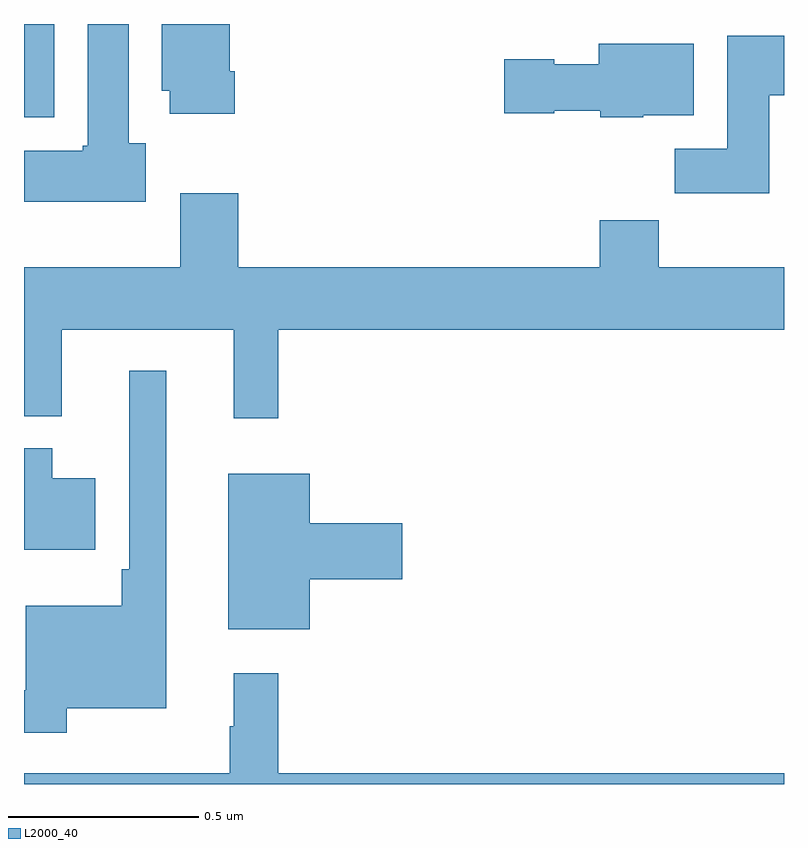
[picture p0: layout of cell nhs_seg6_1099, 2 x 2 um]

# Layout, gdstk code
import gdstk
lib = gdstk.Library(unit=1e-6, precision=1e-09)
def R(c, l, rs):  # rectangles x0, y0, x1, y1
    for r in rs: c.add(gdstk.rectangle(r[:2], r[2:], *l))
def P(c, l, *ps):  # polygons
    for p in ps: c.add(gdstk.Polygon(p, *l))
L2000_40 = (2000, 40)

nhs_seg6_1099 = lib.new_cell('nhs_seg6_1099')
R(nhs_seg6_1099, L2000_40, [(125,921.254,125.079,921.5)])
P(nhs_seg6_1099, L2000_40, [(125.555,921.376),(125.542,921.376),(125.542,921.5),(125.363,921.5),(125.363,921.324),(125.384,921.324),(125.384,921.264),(125.555,921.264)],
  [(125.32,921.186),(125.275,921.186),(125.275,921.5),(125.168,921.5),(125.168,921.18),(125.155,921.18),(125.155,921.166),(125,921.166),(125,921.032),(125.32,921.032)],
  [(126.961,921.313),(127,921.313),(127,921.469),(126.851,921.469),(126.851,921.172),(126.712,921.172),(126.712,921.054),(126.961,921.054)],
  [(126.63,921.26),(126.763,921.26),(126.763,921.448),(126.512,921.448),(126.512,921.394),(126.396,921.394),(126.396,921.407),(126.264,921.407),(126.264,921.265),(126.396,921.265),(126.396,921.272),(126.516,921.272),(126.516,921.254),(126.63,921.254)],
  [(125.669,920.696),(127,920.696),(127,920.86),(126.671,920.86),(126.671,920.984),(126.515,920.984),(126.515,920.86),(125.564,920.86),(125.564,921.055),(125.411,921.055),(125.411,920.86),(125,920.86),(125,920.696),(125.001,920.696),(125.001,920.468),(125.099,920.468),(125.099,920.696),(125.552,920.696),(125.552,920.463),(125.669,920.463)],
  [(125.113,919.7),(125.374,919.7),(125.374,920.587),(125.277,920.587),(125.277,920.065),(125.257,920.065),(125.257,919.969),(125.004,919.969),(125.004,919.747),(125,919.747),(125,919.635),(125.113,919.635)],
  [(125.188,920.305),(125.074,920.305),(125.074,920.383),(125,920.383),(125,920.117),(125.188,920.117)],
  [(125.752,920.039),(125.995,920.039),(125.995,920.186),(125.752,920.186),(125.752,920.317),(125.537,920.317),(125.537,919.907),(125.752,919.907)],
  [(127,919.528),(125.669,919.528),(125.669,919.792),(125.552,919.792),(125.552,919.652),(125.541,919.652),(125.541,919.528),(125,919.528),(125,919.5),(127,919.5)])

lib.write_gds('nhs_seg6_1099.gds')
